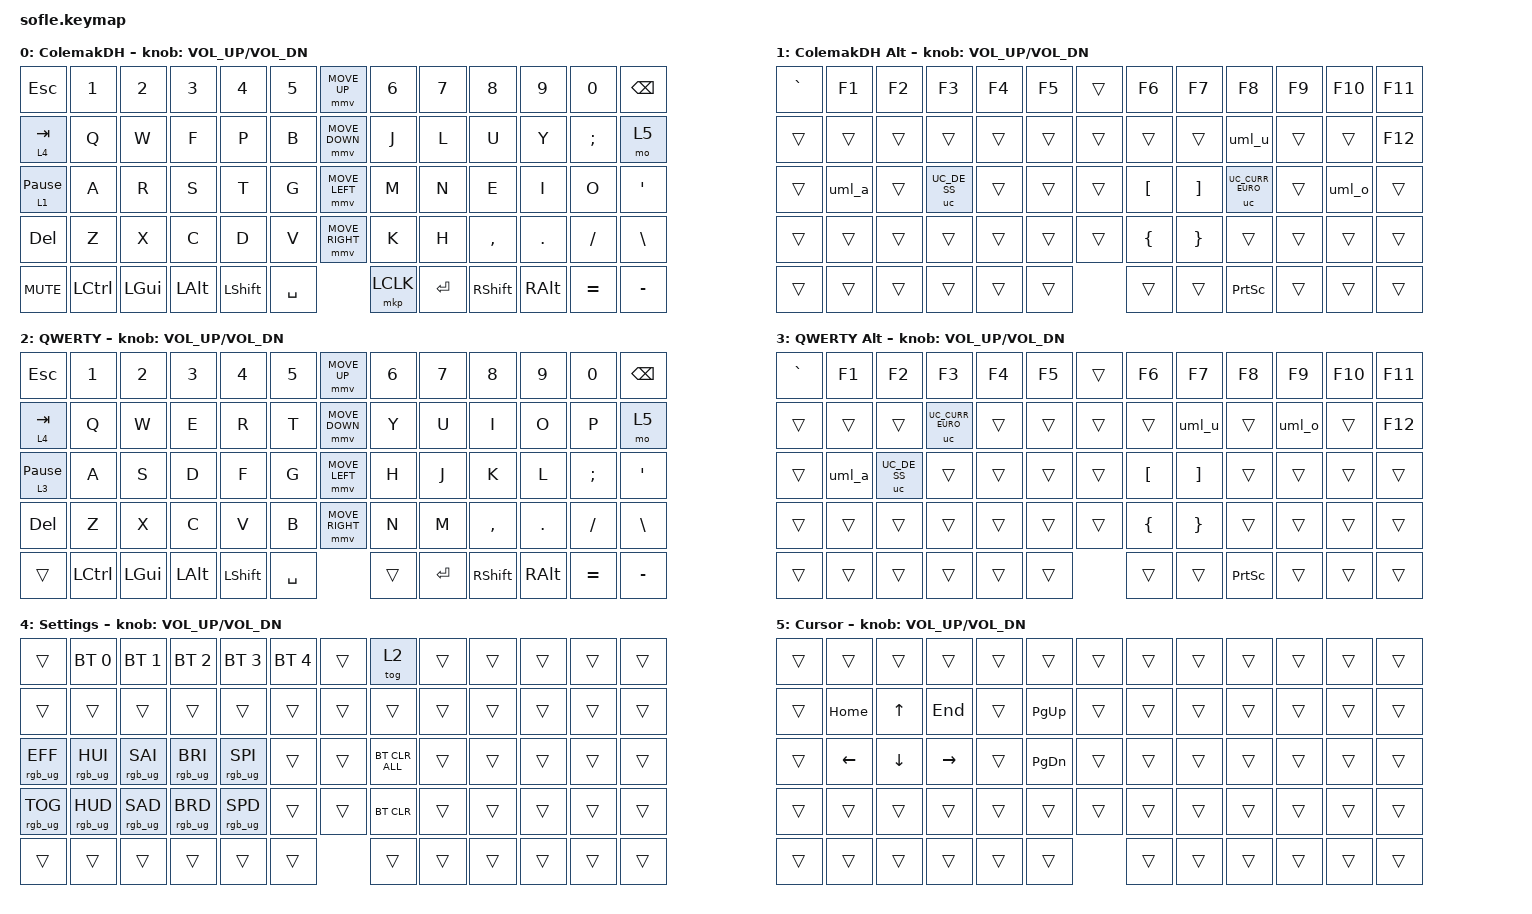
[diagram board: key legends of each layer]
#include <behaviors.dtsi>
#include <dt-bindings/zmk/bt.h>
#include <dt-bindings/zmk/ext_power.h>
#include <dt-bindings/zmk/keys.h>
#include <dt-bindings/zmk/rgb.h>
#include <dt-bindings/zmk/pointing.h>

#define HOST_OS 1 // Host OS is Linux
#include <behaviors/unicode.dtsi>

&uc {
  default-mode = <UC_MODE_LINUX>;  // Replace with desired input system.
};

/ {
     macros {
          uml_a: uml_a {
               compatible = "zmk,behavior-macro";
               #binding-cells = <0>;
               bindings 
                    = <&macro_tap &kp PAUSE_BREAK &kp A &kp DOUBLE_QUOTES>
                    ;
          };
          uml_u: uml_u {
               compatible = "zmk,behavior-macro";
               #binding-cells = <0>;
               bindings
                    = <&macro_tap &kp PAUSE_BREAK &kp U &kp DOUBLE_QUOTES>
                    ;
          };
          uml_o: uml_o {
               compatible = "zmk,behavior-macro";
               #binding-cells = <0>;
               bindings
                    = <&macro_tap &kp PAUSE_BREAK &kp O &kp DOUBLE_QUOTES>
                    ;
          };
    };


     keymap {
          compatible = "zmk,keymap";
          layer_0 {
               display-name = "ColemakDH";
               bindings = <
// ╭────────────────────┬───────────┬───────────┬───────────┬───────────┬───────────╮            ╭───────────╮            ╭───────────┬─────────────┬─────────────┬─────────────┬─────────────┬─────────────╮
     &kp ESC              &kp N1      &kp N2      &kp N3      &kp N4      &kp N5                   &mmv MOVE_UP             &kp N6      &kp N7        &kp N8        &kp N9        &kp N0        &kp BSPC
// ├────────────────────┼───────────┼───────────┼───────────┼───────────┼───────────┤            ├───────────┤            ├───────────┼─────────────┼─────────────┼─────────────┼─────────────┼─────────────┤
     &lt 4 TAB            &kp Q       &kp W       &kp F       &kp P       &kp B                    &mmv MOVE_DOWN           &kp J       &kp L         &kp U         &kp Y         &kp SEMI      &mo 5
// ├────────────────────┼───────────┼───────────┼───────────┼───────────┼───────────┤            ├───────────┤            ├───────────┼─────────────┼─────────────┼─────────────┼─────────────┼─────────────┤
     &lt 1 PAUSE_BREAK    &kp A       &kp R       &kp S       &kp T       &kp G                    &mmv MOVE_LEFT           &kp M       &kp N         &kp E         &kp I         &kp O         &kp APOS
// ├────────────────────┼───────────┼───────────┼───────────┼───────────┼───────────┤            ├───────────┤            ├───────────┼─────────────┼─────────────┼─────────────┼─────────────┼─────────────┤
     &kp DEL              &kp Z       &kp X       &kp C       &kp D       &kp V                    &mmv MOVE_RIGHT          &kp K       &kp H         &kp COMMA     &kp DOT       &kp FSLH      &kp BSLH
// ╰────────────────────┴───────────┼───────────┼───────────┼───────────┼───────────┼───────────┤├───────────┤╭───────────├───────────┼─────────────┼─────────────┼─────────────┼─────────────┴─────────────╯
     &kp K_MUTE                       &kp LCTRL   &kp LGUI    &kp LALT    &kp LSHIFT  &kp SPACE    &mkp LCLK    &kp ENTER   &kp RSHIFT  &kp RALT      &kp EQUAL     &kp MINUS
//                                  ╰───────────┴───────────┴───────────┴───────────┴───────────╯╰───────────╯╰───────────┴───────────┴─────────────┴─────────────┴─────────────╯
               >;
               sensor-bindings = <&inc_dec_kp C_VOLUME_UP C_VOL_DN>;
          };
          layer_1 {
               display-name = "ColemakDH Alt"; // Alt keys for Colemak Basic Layer
               bindings = <
// ╭───────────┬───────────┬───────────┬───────────┬───────────┬───────────╮            ╭───────────╮            ╭───────────┬─────────────┬─────────────┬─────────────┬─────────────┬─────────────╮
     &kp GRAVE   &kp F1      &kp F2      &kp F3      &kp F4      &kp F5                   &trans                   &kp F6      &kp F7        &kp F8        &kp F9        &kp F10       &kp F11
// ├───────────┼───────────┼───────────┼───────────┼───────────┼───────────┤            ├───────────┤            ├───────────┼─────────────┼─────────────┼─────────────┼─────────────┼─────────────┤
     &trans      &trans      &trans      &trans      &trans      &trans                   &trans                   &trans      &trans        &uml_u        &trans        &trans        &kp F12
// ├───────────┼───────────┼───────────┼───────────┼───────────┼───────────┤            ├───────────┤            ├───────────┼─────────────┼─────────────┼─────────────┼─────────────┼─────────────┤
     &trans      &uml_a      &trans     &uc UC_DE_SS &trans      &trans                   &trans                   &kp LBKT    &kp RBKT      &uc UC_CURR_EURO  &trans    &uml_o        &trans
// ├───────────┼───────────┼───────────┼───────────┼───────────┼───────────┤            ├───────────┤            ├───────────┼─────────────┼─────────────┼─────────────┼─────────────┼─────────────┤
     &trans      &trans      &trans      &trans      &trans      &trans                   &trans                   &kp LBRC    &kp RBRC      &trans        &trans        &trans        &trans
// ╰───────────┴───────────┼───────────┼───────────┼───────────┼───────────┼───────────┤├───────────┤╭───────────├───────────┼─────────────┼─────────────┼─────────────┼─────────────┴─────────────╯
     &trans                  &trans      &trans      &trans      &trans      &trans       &trans       &trans      &kp PSCRN   &trans        &trans        &trans
//                         ╰───────────┴───────────┴───────────┴───────────┴───────────╯╰───────────╯╰───────────┴───────────┴─────────────┴─────────────┴─────────────╯
               >;
               sensor-bindings = <&inc_dec_kp C_VOLUME_UP C_VOL_DN>;
          };
          layer_2 {
               display-name = "QWERTY"; // QWERTY Basic Layer
               bindings = <
// ╭────────────────────┬───────────┬───────────┬───────────┬───────────┬───────────╮            ╭───────────╮            ╭───────────┬─────────────┬─────────────┬─────────────┬─────────────┬─────────────╮
     &kp ESC              &kp N1      &kp N2      &kp N3      &kp N4      &kp N5                   &mmv MOVE_UP             &kp N6      &kp N7        &kp N8        &kp N9        &kp N0        &kp BSPC
// ├────────────────────┼───────────┼───────────┼───────────┼───────────┼───────────┤            ├───────────┤            ├───────────┼─────────────┼─────────────┼─────────────┼─────────────┼─────────────┤
     &lt 4 TAB            &kp Q       &kp W       &kp E       &kp R       &kp T                    &mmv MOVE_DOWN           &kp Y       &kp U         &kp I         &kp O         &kp P         &mo 5
// ├────────────────────┼───────────┼───────────┼───────────┼───────────┼───────────┤            ├───────────┤            ├───────────┼─────────────┼─────────────┼─────────────┼─────────────┼─────────────┤
     &lt 3 PAUSE_BREAK    &kp A       &kp S       &kp D       &kp F       &kp G                    &mmv MOVE_LEFT           &kp H       &kp J         &kp K         &kp L         &kp SEMI      &kp APOS
// ├────────────────────┼───────────┼───────────┼───────────┼───────────┼───────────┤            ├───────────┤            ├───────────┼─────────────┼─────────────┼─────────────┼─────────────┼─────────────┤
     &kp DEL              &kp Z       &kp X       &kp C       &kp V       &kp B                    &mmv MOVE_RIGHT          &kp N       &kp M         &kp COMMA     &kp DOT       &kp FSLH      &kp BSLH
// ╰────────────────────┴───────────┼───────────┼───────────┼───────────┼───────────┼───────────┤├───────────┤╭───────────├───────────┼─────────────┼─────────────┼─────────────┼─────────────┴─────────────╯
     &trans                           &kp LCTRL   &kp LGUI    &kp LALT    &kp LSHIFT  &kp SPACE    &trans      &kp ENTER   &kp RSHIFT  &kp RALT      &kp EQUAL     &kp MINUS
//                                  ╰───────────┴───────────┴───────────┴───────────┴───────────╯╰───────────╯╰───────────┴───────────┴─────────────┴─────────────┴─────────────╯
               >;
               sensor-bindings = <&inc_dec_kp C_VOLUME_UP C_VOL_DN>;
          } ;
          layer_3 {
               display-name = "QWERTY Alt"; // Alt keys for QWERTY Basic Layer
               bindings = <
// ╭───────────┬───────────┬───────────┬───────────┬───────────┬───────────╮            ╭───────────╮            ╭───────────┬─────────────┬─────────────┬─────────────┬─────────────┬─────────────╮
     &kp GRAVE   &kp F1      &kp F2      &kp F3      &kp F4      &kp F5                   &trans                   &kp F6      &kp F7        &kp F8        &kp F9        &kp F10       &kp F11
// ├───────────┼───────────┼───────────┼───────────┼───────────┼───────────┤            ├───────────┤            ├───────────┼─────────────┼─────────────┼─────────────┼─────────────┼─────────────┤
     &trans      &trans      &trans     &uc UC_CURR_EURO &trans  &trans                   &trans                   &trans      &uml_u        &trans        &uml_o        &trans        &kp F12
// ├───────────┼───────────┼───────────┼───────────┼───────────┼───────────┤            ├───────────┤            ├───────────┼─────────────┼─────────────┼─────────────┼─────────────┼─────────────┤
     &trans      &uml_a      &uc UC_DE_SS &trans    &trans      &trans                   &trans                   &kp LBKT    &kp RBKT      &trans        &trans        &trans        &trans
// ├───────────┼───────────┼───────────┼───────────┼───────────┼───────────┤            ├───────────┤            ├───────────┼─────────────┼─────────────┼─────────────┼─────────────┼─────────────┤
     &trans      &trans      &trans      &trans      &trans      &trans                   &trans                   &kp LBRC    &kp RBRC      &trans        &trans        &trans        &trans
// ╰───────────┴───────────┼───────────┼───────────┼───────────┼───────────┼───────────┤├───────────┤╭───────────├───────────┼─────────────┼─────────────┼─────────────┼─────────────┴─────────────╯
     &trans                  &trans      &trans      &trans      &trans      &trans       &trans       &trans      &kp PSCRN   &trans        &trans        &trans
//                         ╰───────────┴───────────┴───────────┴───────────┴───────────╯╰───────────╯╰───────────┴───────────┴─────────────┴─────────────┴─────────────╯
               >;
               sensor-bindings = <&inc_dec_kp C_VOLUME_UP C_VOL_DN>;
          };
          layer_4 {
               display-name = "Settings"; // The Settings
               bindings = <
// ╭────────────────┬───────────────┬───────────────┬───────────────┬───────────────┬───────────────╮            ╭───────────╮            ╭──────────────┬─────────────┬─────────────┬─────────────┬─────────────┬─────────────╮
     &trans          &bt BT_SEL 0    &bt BT_SEL 1    &bt BT_SEL 2    &bt BT_SEL 3    &bt BT_SEL 4                 &trans                   &tog 2         &trans        &trans        &trans        &trans        &trans
// ├────────────────┼───────────────┼───────────────┼───────────────┼───────────────┼───────────────┤            ├───────────┤            ├──────────────┼─────────────┼─────────────┼─────────────┼─────────────┼─────────────┤
     &trans          &trans          &trans          &trans          &trans          &trans                       &trans                   &trans         &trans        &trans        &trans        &trans        &trans
// ├────────────────┼───────────────┼───────────────┼───────────────┼───────────────┼───────────────┤            ├───────────┤            ├──────────────┼─────────────┼─────────────┼─────────────┼─────────────┼─────────────┤
     &rgb_ug RGB_EFF &rgb_ug RGB_HUI &rgb_ug RGB_SAI &rgb_ug RGB_BRI &rgb_ug RGB_SPI &trans                       &trans                   &bt BT_CLR_ALL &trans        &trans        &trans        &trans        &trans
// ├────────────────┼───────────────┼───────────────┼───────────────┼───────────────┼───────────────┤            ├───────────┤            ├──────────────┼─────────────┼─────────────┼─────────────┼─────────────┼─────────────┤
     &rgb_ug RGB_TOG &rgb_ug RGB_HUD &rgb_ug RGB_SAD &rgb_ug RGB_BRD &rgb_ug RGB_SPD &trans                       &trans                   &bt BT_CLR     &trans        &trans        &trans        &trans        &trans
// ╰────────────────┴───────────────┼───────────────┼───────────────┼───────────────┼───────────────┼───────────┤├───────────┤╭───────────├──────────────┼─────────────┼─────────────┼─────────────┼─────────────┴─────────────╯
     &trans                          &trans           &trans          &trans          &trans          &trans      &trans       &trans      &trans         &trans        &trans        &trans
//                                  ╰───────────────┴───────────────┴───────────────┴───────────────┴───────────╯╰───────────╯╰───────────┴──────────────┴─────────────┴─────────────┴─────────────╯
               >;
               sensor-bindings = <&inc_dec_kp C_VOLUME_UP C_VOL_DN>;
          };
          layer_5 {
               display-name = "Cursor"; // Cursor and pos control
               bindings = <
// ╭───────────┬───────────┬───────────┬───────────┬───────────┬───────────╮            ╭───────────╮            ╭───────────┬─────────────┬─────────────┬─────────────┬─────────────┬─────────────╮
      &trans     &trans      &trans      &trans      &trans      &trans                   &trans                   &trans      &trans        &trans        &trans        &trans        &trans
// ├───────────┼───────────┼───────────┼───────────┼───────────┼───────────┤            ├───────────┤            ├───────────┼─────────────┼─────────────┼─────────────┼─────────────┼─────────────┤
     &trans      &kp HOME    &kp UP      &kp END     &trans      &kp PG_UP                &trans                   &trans      &trans        &trans        &trans        &trans        &trans
// ├───────────┼───────────┼───────────┼───────────┼───────────┼───────────┤            ├───────────┤            ├───────────┼─────────────┼─────────────┼─────────────┼─────────────┼─────────────┤
     &trans      &kp LEFT    &kp DOWN    &kp RIGHT   &trans      &kp PG_DN                &trans                   &trans      &trans        &trans        &trans        &trans        &trans
// ├───────────┼───────────┼───────────┼───────────┼───────────┼───────────┤            ├───────────┤            ├───────────┼─────────────┼─────────────┼─────────────┼─────────────┼─────────────┤
     &trans      &trans      &trans      &trans      &trans      &trans                   &trans                   &trans      &trans        &trans        &trans        &trans        &trans
// ╰───────────┴───────────┼───────────┼───────────┼───────────┼───────────┼───────────┤├───────────┤╭───────────├───────────┼─────────────┼─────────────┼─────────────┼─────────────┴─────────────╯
     &trans                  &trans      &trans      &trans      &trans      &trans       &trans       &trans      &trans      &trans        &trans        &trans
//                         ╰───────────┴───────────┴───────────┴───────────┴───────────╯╰───────────╯╰───────────┴───────────┴─────────────┴─────────────┴─────────────╯
               >;
               sensor-bindings = <&inc_dec_kp C_VOLUME_UP C_VOL_DN>;
          };

     };
};
